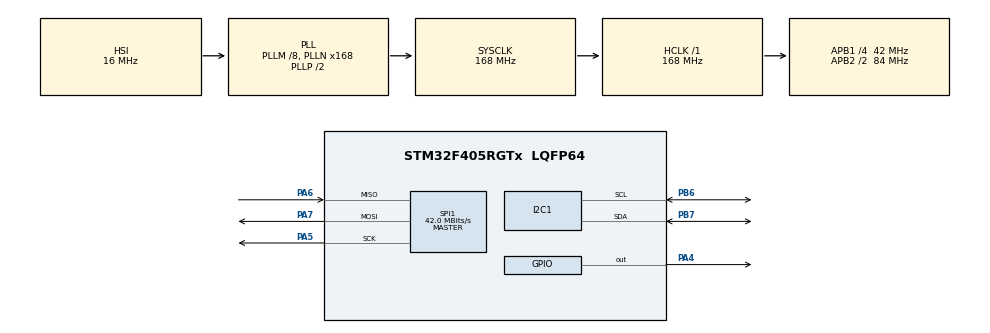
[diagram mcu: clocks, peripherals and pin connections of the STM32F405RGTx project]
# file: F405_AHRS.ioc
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Dma.Request0=SPI1_RX
Dma.Request1=SPI1_TX
Dma.SPI1_RX.0.Direction=DMA_PERIPH_TO_MEMORY
Dma.SPI1_RX.0.FIFOMode=DMA_FIFOMODE_DISABLE
Dma.SPI1_RX.0.Instance=DMA2_Stream0
Dma.SPI1_RX.0.MemDataAlignment=DMA_MDATAALIGN_BYTE
Dma.SPI1_RX.0.MemInc=DMA_MINC_ENABLE
Dma.SPI1_RX.0.Mode=DMA_NORMAL
Dma.SPI1_RX.0.PeriphDataAlignment=DMA_PDATAALIGN_BYTE
Dma.SPI1_RX.0.PeriphInc=DMA_PINC_DISABLE
Dma.SPI1_RX.0.Priority=DMA_PRIORITY_HIGH
Dma.SPI1_TX.1.Direction=DMA_MEMORY_TO_PERIPH
Dma.SPI1_TX.1.FIFOMode=DMA_FIFOMODE_DISABLE
Dma.SPI1_TX.1.Instance=DMA2_Stream3
Dma.SPI1_TX.1.MemDataAlignment=DMA_MDATAALIGN_BYTE
Dma.SPI1_TX.1.MemInc=DMA_MINC_ENABLE
Dma.SPI1_TX.1.Mode=DMA_NORMAL
Dma.SPI1_TX.1.PeriphDataAlignment=DMA_PDATAALIGN_BYTE
Dma.SPI1_TX.1.PeriphInc=DMA_PINC_DISABLE
Dma.SPI1_TX.1.Priority=DMA_PRIORITY_HIGH
Mcu.Family=STM32F4
Mcu.Name=STM32F405RGTx
Mcu.Package=LQFP64
NVIC.DMA2_Stream0_IRQn=true\:0\:0\:false\:false\:true\:false\:true\:true
NVIC.DMA2_Stream3_IRQn=true\:0\:0\:false\:false\:true\:false\:true\:true
NVIC.I2C1_ER_IRQn=true\:0\:0\:false\:false\:true\:true\:true\:true
NVIC.I2C1_EV_IRQn=true\:0\:0\:false\:false\:true\:true\:true\:true
NVIC.PriorityGroup=NVIC_PRIORITYGROUP_4
NVIC.SPI1_IRQn=true\:0\:0\:false\:false\:true\:true\:true\:true
PA13.Mode=Serial_Wire
PA13.Signal=SYS_JTMS-SWDIO
PA14.Mode=Serial_Wire
PA14.Signal=SYS_JTCK-SWCLK
PA4.Signal=GPIO_Output
PA5.Mode=Full_Duplex_Master
PA5.Signal=SPI1_SCK
PA6.Mode=Full_Duplex_Master
PA6.Signal=SPI1_MISO
PA7.Mode=Full_Duplex_Master
PA7.Signal=SPI1_MOSI
PB6.Mode=I2C
PB6.Signal=I2C1_SCL
PB7.Mode=I2C
PB7.Signal=I2C1_SDA
PH0-OSC_IN.Mode=HSE-External-Oscillator
PH0-OSC_IN.Signal=RCC_OSC_IN
PH1-OSC_OUT.Mode=HSE-External-Oscillator
PH1-OSC_OUT.Signal=RCC_OSC_OUT
ProjectManager.HeapSize=0x200
ProjectManager.StackSize=0x400
ProjectManager.TargetToolchain=MDK-ARM V5.32
RCC.48MHZClocksFreq_Value=84000000
RCC.AHBFreq_Value=168000000
RCC.APB1CLKDivider=RCC_HCLK_DIV4
RCC.APB1Freq_Value=42000000
RCC.APB1TimFreq_Value=84000000
RCC.APB2CLKDivider=RCC_HCLK_DIV2
RCC.APB2Freq_Value=84000000
RCC.APB2TimFreq_Value=168000000
RCC.CortexFreq_Value=168000000
RCC.HCLKFreq_Value=168000000
RCC.HSE_VALUE=25000000
RCC.HSI_VALUE=16000000
RCC.LSE_VALUE=32768
RCC.PLLM=8
RCC.PLLN=168
RCC.SYSCLKFreq_VALUE=168000000
RCC.SYSCLKSource=RCC_SYSCLKSOURCE_PLLCLK
RCC.VCOOutputFreq_Value=336000000
SPI1.CalculateBaudRate=42.0 MBits/s
SPI1.Direction=SPI_DIRECTION_2LINES
SPI1.Mode=SPI_MODE_MASTER
SPI1.VirtualType=VM_MASTER
TIM5.Prescaler=83
VP_TIM5_VS_ClockSourceINT.Mode=Internal
board=custom

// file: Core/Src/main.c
/* USER CODE BEGIN Header */
/**
  ******************************************************************************
  * @file           : main.c
  * @brief          : Main program body
  ******************************************************************************
  * @attention
  *
  * Copyright (c) 2025 STMicroelectronics.
  * All rights reserved.
  *
  * This software is licensed under terms that can be found in the LICENSE file
  * in the root directory of this software component.
  * If no LICENSE file comes with this software, it is provided AS-IS.
  *
  ******************************************************************************
  */
/* USER CODE END Header */
#include "main.h"

/* USER CODE BEGIN Includes */
#include "mpu6000.h"
#include <stdio.h>
#include <stdint.h>
#include "LowPassFilter.h"
#include "NotchFilter.h"
#include "QMC5883L.h"
#include "matrix3.h"
#include "EKF.h"
/* USER CODE END Includes */

/* USER CODE BEGIN PD */
#define IMU_SAMPLE_RATE_HZ 200.0f  // Tuong ?ng v?i chu k? 5ms
#define ACC_CUTOFF_HZ      20.0f   // L?c rung d?ng khung
#define GYRO_CUTOFF_HZ     80.0f   // L?c nhi?u cao t?n
#define NOTCH_CENTER_HZ    180.0f
#define NOTCH_BANDWIDTH    40.0f
#define NOTCH_ATTENUATION  40.0f

/* USER CODE END PD */

I2C_HandleTypeDef hi2c1;

SPI_HandleTypeDef hspi1;
DMA_HandleTypeDef hdma_spi1_rx;
DMA_HandleTypeDef hdma_spi1_tx;

TIM_HandleTypeDef htim5;

/* USER CODE BEGIN PV */
MPU6000 mpu;
LowPassFilter2pFloat acc_filter[3];
LowPassFilter2pFloat gyro_filter[3];
LowPassFilter2pFloat mag_filter[3];

NotchFilter_t acc_notch[3];
NotchFilter_t gyro_notch[3];
QMC5883L_t mag;
EKF_Handle_t ekf;

uint8_t found;
float ax, ay, az;
float gx, gy, gz;
float mx, my, mz;
float dt = 0.0f;
float N,E,D;
float roll, pitch, yaw;
float ekf_roll = 0.0f;
float ekf_pitch = 0.0f;
float ekf_yaw = 0.0f;
float mag_offset_x = 0.219831139f;
float mag_offset_y = 0.0419995785f;
float mag_offset_z = -0.261330724f;
float vn, ve, vd;
float pn, pe, pd;
float dt_real;
/* USER CODE END PV */

void SystemClock_Config(void);
static void MX_GPIO_Init(void);
static void MX_DMA_Init(void);
static void MX_SPI1_Init(void);
static void MX_I2C1_Init(void);
static void MX_TIM5_Init(void);
/* USER CODE BEGIN PFP */
void HAL_SPI_TxRxCpltCallback(SPI_HandleTypeDef *hspi)
{
	if (hspi->Instance == SPI1)
	{
		HAL_GPIO_WritePin(MPU6000_CS_PORT, MPU6000_CS_PIN, GPIO_PIN_SET);
		MPU6000_Process_DMA(&mpu);
		mpu.data_ready = true;
	}
}

uint32_t micros(void)
{
	return __HAL_TIM_GET_COUNTER(&htim5);
}

/* USER CODE END PFP */
/* USER CODE END PFP */

int main(void)
{

  /* MCU Configuration--------------------------------------------------------*/

  /* Reset of all peripherals, Initializes the Flash interface and the Systick. */
  HAL_Init();

  /* Configure the system clock */
  SystemClock_Config();

  /* Initialize all configured peripherals */
  MX_GPIO_Init();
  MX_DMA_Init();
  MX_SPI1_Init();
  MX_I2C1_Init();
  MX_TIM5_Init();
	HAL_TIM_Base_Start(&htim5);
  /* USER CODE BEGIN 2 */
	MPU6000_Init(&mpu, &hspi1);
	HAL_Delay(100);
	MPU6000_Calibrate(&mpu);
	HAL_Delay(20);
	QMC5883L_Init(&mag, &hi2c1);
	for (int i = 0; i < 3; i++) {
        LowPassFilter2pFloat_init(&acc_filter[i],  IMU_SAMPLE_RATE_HZ, ACC_CUTOFF_HZ);
        LowPassFilter2pFloat_init(&gyro_filter[i], IMU_SAMPLE_RATE_HZ, GYRO_CUTOFF_HZ);
  }
	for(int i = 0; i < 3; i++)
	{
			NotchFilter_init(&acc_notch[i],
											 IMU_SAMPLE_RATE_HZ,
											 NOTCH_CENTER_HZ,
											 NOTCH_BANDWIDTH,
											 NOTCH_ATTENUATION);

			NotchFilter_init(&gyro_notch[i],
											 IMU_SAMPLE_RATE_HZ,
											 NOTCH_CENTER_HZ,
											 NOTCH_BANDWIDTH,
											 NOTCH_ATTENUATION);
	}
	EKF_Init(&ekf, 0.005f);
	Vector3f mag_sum = {0, 0, 0};
	int sample_count = 0;
	for (int i = 0; i < 100; i++)
	{
		if (QMC5883L_ReadMag(&mag)) {
        float mx_cal = mag.mag_x - mag_offset_x;
        float my_cal = mag.mag_y - mag_offset_y;
        float mz_cal = mag.mag_z - mag_offset_z;

        mag_sum.x += mx_cal;
        mag_sum.y += my_cal;
        mag_sum.z += mz_cal;
      }
		HAL_Delay(5);
	}
	if (sample_count > 0)
	{
		mag_sum.x /= sample_count;
		mag_sum.y /= sample_count;
		mag_sum.z /= sample_count;
		float norm = sqrtf(mag_sum.x*mag_sum.x + mag_sum.y*mag_sum.y + mag_sum.z*mag_sum.z);
      if (norm > 1e-4f) {
          Vector3f mag_ref_vec = {mag_sum.x/norm, mag_sum.y/norm, mag_sum.z/norm};
          EKF_SetMagReference(&ekf, mag_ref_vec);
      }
	}

	uint32_t last_mag_time_us = micros();
  uint32_t last_imu_trigger_us = micros();
	uint32_t last_ekf_process_us = micros();
  /* USER CODE END 2 */

  /* Infinite loop */
  /* USER CODE BEGIN WHILE */
  while (1)
  {
		uint32_t now_us = micros();

    if (now_us - last_mag_time_us >= 10000)
    {
        if (QMC5883L_ReadMag(&mag))
        {
            mx = mag.mag_x - mag_offset_x;
            my = mag.mag_y - mag_offset_y;
            mz = mag.mag_z - mag_offset_z;
            float m_norm = sqrtf(mx*mx + my*my + mz*mz);
            if (m_norm > 1e-4f) {
                float inv_norm = 1.0f / m_norm;
                EKF_FuseMag(&ekf, (Vector3f){mx * inv_norm, my * inv_norm, mz * inv_norm});
            }
        }
        last_mag_time_us = now_us;
    }

    if (now_us - last_imu_trigger_us >= 5000)
    {
        MPU6000_Start_DMA(&mpu);
        last_imu_trigger_us = now_us;
    }

    if (mpu.data_ready)
    {
        mpu.data_ready = false;

        uint32_t current_ekf_us = micros();

        dt_real = (float)(current_ekf_us - last_ekf_process_us) * 0.000001f;

        last_ekf_process_us = current_ekf_us;

        if (dt_real <= 0.0f) dt_real = 0.005f;
        if (dt_real > 0.02f) dt_real = 0.02f;

        ekf.dt = dt_real;

        ax = NotchFilter_apply(&acc_notch[0], LowPassFilter2pFloat_apply(&acc_filter[0], mpu.acc[1]));
        ay = NotchFilter_apply(&acc_notch[1], LowPassFilter2pFloat_apply(&acc_filter[1], mpu.acc[0]));
        az = NotchFilter_apply(&acc_notch[2], LowPassFilter2pFloat_apply(&acc_filter[2], mpu.acc[2]));

        gx = NotchFilter_apply(&gyro_notch[0], LowPassFilter2pFloat_apply(&gyro_filter[0], mpu.gyro[1]));
        gy = NotchFilter_apply(&gyro_notch[1], LowPassFilter2pFloat_apply(&gyro_filter[1], mpu.gyro[0]));
        gz = NotchFilter_apply(&gyro_notch[2], LowPassFilter2pFloat_apply(&gyro_filter[2], mpu.gyro[2]));

				float ax_mss = ax * GRAVITY_MSS;
        float ay_mss = ay * GRAVITY_MSS;
        float az_mss = az * GRAVITY_MSS;

        float gx_rad = gx * DEG_TO_RAD;
        float gy_rad = gy * DEG_TO_RAD;
        float gz_rad = gz * DEG_TO_RAD;

				EKF_Predict(&ekf,(Vector3f){gx_rad, gy_rad, gz_rad}, (Vector3f){ax_mss, ay_mss, az_mss});
				EKF_FuseAccel(&ekf, (Vector3f){ax_mss, ay_mss, az_mss});

        EKF_GetEuler(&ekf, &roll, &pitch, &yaw);

				vn = ekf.vn;
				ve = ekf.ve;
				vd = ekf.vd;

				pn = ekf.pn;
				pe = ekf.pe;
				pd = ekf.pd;

    }
    /* USER CODE END WHILE */

  }
}

void SystemClock_Config(void)
{
  RCC_OscInitTypeDef RCC_OscInitStruct = {0};
  RCC_ClkInitTypeDef RCC_ClkInitStruct = {0};

  /** Configure the main internal regulator output voltage
  */
  __HAL_RCC_PWR_CLK_ENABLE();
  __HAL_PWR_VOLTAGESCALING_CONFIG(PWR_REGULATOR_VOLTAGE_SCALE1);

  /** Initializes the RCC Oscillators according to the specified parameters
  * in the RCC_OscInitTypeDef structure.
  */
  RCC_OscInitStruct.OscillatorType = RCC_OSCILLATORTYPE_HSI;
  RCC_OscInitStruct.HSIState = RCC_HSI_ON;
  RCC_OscInitStruct.HSICalibrationValue = RCC_HSICALIBRATION_DEFAULT;
  RCC_OscInitStruct.PLL.PLLState = RCC_PLL_ON;
  RCC_OscInitStruct.PLL.PLLSource = RCC_PLLSOURCE_HSI;
  RCC_OscInitStruct.PLL.PLLM = 8;
  RCC_OscInitStruct.PLL.PLLN = 168;
  RCC_OscInitStruct.PLL.PLLP = RCC_PLLP_DIV2;
  RCC_OscInitStruct.PLL.PLLQ = 4;
  if (HAL_RCC_OscConfig(&RCC_OscInitStruct) != HAL_OK)
  {
    Error_Handler();
  }

  /** Initializes the CPU, AHB and APB buses clocks
  */
  RCC_ClkInitStruct.ClockType = RCC_CLOCKTYPE_HCLK|RCC_CLOCKTYPE_SYSCLK
                              |RCC_CLOCKTYPE_PCLK1|RCC_CLOCKTYPE_PCLK2;
  RCC_ClkInitStruct.SYSCLKSource = RCC_SYSCLKSOURCE_PLLCLK;
  RCC_ClkInitStruct.AHBCLKDivider = RCC_SYSCLK_DIV1;
  RCC_ClkInitStruct.APB1CLKDivider = RCC_HCLK_DIV4;
  RCC_ClkInitStruct.APB2CLKDivider = RCC_HCLK_DIV2;

  if (HAL_RCC_ClockConfig(&RCC_ClkInitStruct, FLASH_LATENCY_5) != HAL_OK)
  {
    Error_Handler();
  }
}

static void MX_I2C1_Init(void)
{

  hi2c1.Instance = I2C1;
  hi2c1.Init.ClockSpeed = 100000;
  hi2c1.Init.DutyCycle = I2C_DUTYCYCLE_2;
  hi2c1.Init.OwnAddress1 = 0;
  hi2c1.Init.AddressingMode = I2C_ADDRESSINGMODE_7BIT;
  hi2c1.Init.DualAddressMode = I2C_DUALADDRESS_DISABLE;
  hi2c1.Init.OwnAddress2 = 0;
  hi2c1.Init.GeneralCallMode = I2C_GENERALCALL_DISABLE;
  hi2c1.Init.NoStretchMode = I2C_NOSTRETCH_DISABLE;
  if (HAL_I2C_Init(&hi2c1) != HAL_OK)
  {
    Error_Handler();
  }

}

static void MX_SPI1_Init(void)
{

  /* SPI1 parameter configuration*/
  hspi1.Instance = SPI1;
  hspi1.Init.Mode = SPI_MODE_MASTER;
  hspi1.Init.Direction = SPI_DIRECTION_2LINES;
  hspi1.Init.DataSize = SPI_DATASIZE_8BIT;
  hspi1.Init.CLKPolarity = SPI_POLARITY_LOW;
  hspi1.Init.CLKPhase = SPI_PHASE_1EDGE;
  hspi1.Init.NSS = SPI_NSS_SOFT;
  hspi1.Init.BaudRatePrescaler = SPI_BAUDRATEPRESCALER_2;
  hspi1.Init.FirstBit = SPI_FIRSTBIT_MSB;
  hspi1.Init.TIMode = SPI_TIMODE_DISABLE;
  hspi1.Init.CRCCalculation = SPI_CRCCALCULATION_DISABLE;
  hspi1.Init.CRCPolynomial = 10;
  if (HAL_SPI_Init(&hspi1) != HAL_OK)
  {
    Error_Handler();
  }

}

static void MX_TIM5_Init(void)
{

  TIM_ClockConfigTypeDef sClockSourceConfig = {0};
  TIM_MasterConfigTypeDef sMasterConfig = {0};

  htim5.Instance = TIM5;
  htim5.Init.Prescaler = 83;
  htim5.Init.CounterMode = TIM_COUNTERMODE_UP;
  htim5.Init.Period = 4294967295;
  htim5.Init.ClockDivision = TIM_CLOCKDIVISION_DIV1;
  htim5.Init.AutoReloadPreload = TIM_AUTORELOAD_PRELOAD_DISABLE;
  if (HAL_TIM_Base_Init(&htim5) != HAL_OK)
  {
    Error_Handler();
  }
  sClockSourceConfig.ClockSource = TIM_CLOCKSOURCE_INTERNAL;
  if (HAL_TIM_ConfigClockSource(&htim5, &sClockSourceConfig) != HAL_OK)
  {
    Error_Handler();
  }
  sMasterConfig.MasterOutputTrigger = TIM_TRGO_RESET;
  sMasterConfig.MasterSlaveMode = TIM_MASTERSLAVEMODE_DISABLE;
  if (HAL_TIMEx_MasterConfigSynchronization(&htim5, &sMasterConfig) != HAL_OK)
  {
    Error_Handler();
  }

}

static void MX_DMA_Init(void)
{

  /* DMA controller clock enable */
  __HAL_RCC_DMA2_CLK_ENABLE();

  /* DMA interrupt init */
  /* DMA2_Stream0_IRQn interrupt configuration */
  HAL_NVIC_SetPriority(DMA2_Stream0_IRQn, 0, 0);
  HAL_NVIC_EnableIRQ(DMA2_Stream0_IRQn);
  /* DMA2_Stream3_IRQn interrupt configuration */
  HAL_NVIC_SetPriority(DMA2_Stream3_IRQn, 0, 0);
  HAL_NVIC_EnableIRQ(DMA2_Stream3_IRQn);

}

static void MX_GPIO_Init(void)
{
  GPIO_InitTypeDef GPIO_InitStruct = {0};

  /* GPIO Ports Clock Enable */
  __HAL_RCC_GPIOH_CLK_ENABLE();
  __HAL_RCC_GPIOA_CLK_ENABLE();
  __HAL_RCC_GPIOB_CLK_ENABLE();

  /*Configure GPIO pin Output Level */
  HAL_GPIO_WritePin(GPIOA, GPIO_PIN_4, GPIO_PIN_RESET);

  /*Configure GPIO pin : PA4 */
  GPIO_InitStruct.Pin = GPIO_PIN_4;
  GPIO_InitStruct.Mode = GPIO_MODE_OUTPUT_PP;
  GPIO_InitStruct.Pull = GPIO_NOPULL;
  GPIO_InitStruct.Speed = GPIO_SPEED_FREQ_LOW;
  HAL_GPIO_Init(GPIOA, &GPIO_InitStruct);

}

void Error_Handler(void)
{
  __disable_irq();
  while (1)
  {
  }
}
